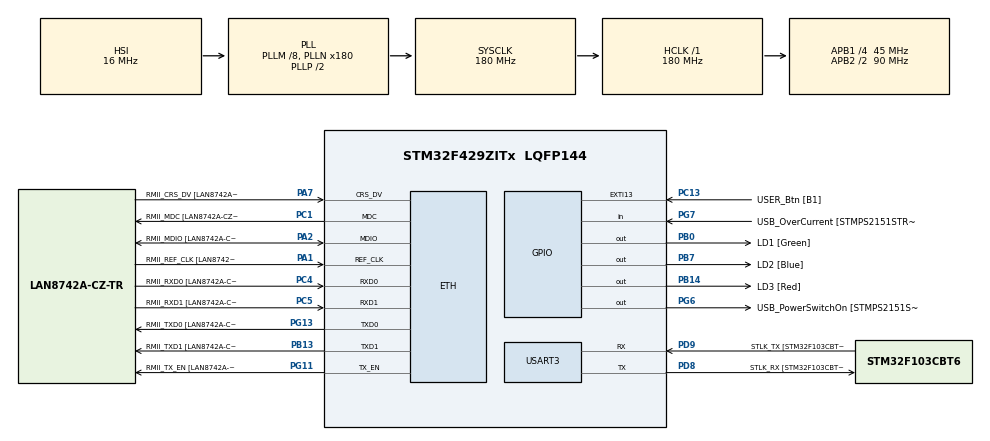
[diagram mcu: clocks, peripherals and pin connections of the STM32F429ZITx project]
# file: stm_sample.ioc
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ETH.MediaInterface=HAL_ETH_RMII_MODE
FREERTOS.Tasks01=defaultTask,24,1024,StartDefaultTask,Default,NULL,Dynamic,NULL,NULL;serverTask,24,1024,StartServerTask,Default,NULL,Dynamic,NULL,NULL
FREERTOS.configUSE_NEWLIB_REENTRANT=1
LWIP.BSP.number=1
LWIP.IP_ADDRESS=192.168.000.032
LWIP.LWIP_DHCP=0
LWIP.NETMASK_ADDRESS=255.255.255.000
LWIP.Version=v2.1.2_Cube
LWIP0.BSP.STBoard=false
LWIP0.BSP.api=BSP_COMPONENT_DRIVER
LWIP0.BSP.component=LAN8742
LWIP0.BSP.instance=LAN8742
LWIP0.BSP.name=Driver_PHY
LWIP0.BSP.semaphore=S_LAN8742
LWIP0.BSP.solution=LAN8742
Mcu.Family=STM32F4
Mcu.Name=STM32F429ZITx
Mcu.Package=LQFP144
NVIC.ETH_IRQn=true\:6\:0\:true\:false\:true\:true\:true\:true\:true
NVIC.PriorityGroup=NVIC_PRIORITYGROUP_4
NVIC.TIM1_UP_TIM10_IRQn=true\:15\:0\:false\:false\:true\:false\:false\:true\:true
NVIC.TimeBase=TIM1_UP_TIM10_IRQn
NVIC.TimeBaseIP=TIM1
PA1.GPIO_Label=RMII_REF_CLK [LAN8742A-CZ-TR_REFCLK0]
PA1.Mode=RMII
PA1.Signal=ETH_REF_CLK
PA10.GPIO_Label=USB_ID
PA10.Signal=USB_OTG_FS_ID
PA11.GPIO_Label=USB_DM
PA11.Signal=USB_OTG_FS_DM
PA12.GPIO_Label=USB_DP
PA12.Signal=USB_OTG_FS_DP
PA13.GPIO_Label=TMS
PA13.Signal=SYS_JTMS-SWDIO
PA14.GPIO_Label=TCK
PA14.Signal=SYS_JTCK-SWCLK
PA2.GPIO_Label=RMII_MDIO [LAN8742A-CZ-TR_MDIO]
PA2.Mode=RMII
PA2.Signal=ETH_MDIO
PA7.GPIO_Label=RMII_CRS_DV [LAN8742A-CZ-TR_CRS_DV]
PA7.Mode=RMII
PA7.Signal=ETH_CRS_DV
PA8.GPIO_Label=USB_SOF [TP1]
PA8.Signal=USB_OTG_FS_SOF
PA9.GPIO_Label=USB_VBUS
PA9.Signal=USB_OTG_FS_VBUS
PB0.GPIO_Label=LD1 [Green]
PB0.Signal=GPIO_Output
PB13.GPIO_Label=RMII_TXD1 [LAN8742A-CZ-TR_TXD1]
PB13.Mode=RMII
PB13.Signal=ETH_TXD1
PB14.GPIO_Label=LD3 [Red]
PB14.Signal=GPIO_Output
PB7.GPIO_Label=LD2 [Blue]
PB7.Signal=GPIO_Output
PC1.GPIO_Label=RMII_MDC [LAN8742A-CZ-TR_MDC]
PC1.Mode=RMII
PC1.Signal=ETH_MDC
PC13.GPIO_Label=USER_Btn [B1]
PC13.Signal=GPXTI13
PC14/OSC32_IN.Signal=RCC_OSC32_IN
PC15/OSC32_OUT.Signal=RCC_OSC32_OUT
PC4.GPIO_Label=RMII_RXD0 [LAN8742A-CZ-TR_RXD0]
PC4.Mode=RMII
PC4.Signal=ETH_RXD0
PC5.GPIO_Label=RMII_RXD1 [LAN8742A-CZ-TR_RXD1]
PC5.Mode=RMII
PC5.Signal=ETH_RXD1
PD8.GPIO_Label=STLK_RX [STM32F103CBT6_PA3]
PD8.Mode=Asynchronous
PD8.Signal=USART3_TX
PD9.GPIO_Label=STLK_TX [STM32F103CBT6_PA2]
PD9.Mode=Asynchronous
PD9.Signal=USART3_RX
PG11.GPIO_Label=RMII_TX_EN [LAN8742A-CZ-TR_TXEN]
PG11.Mode=RMII
PG11.Signal=ETH_TX_EN
PG13.GPIO_Label=RMII_TXD0 [LAN8742A-CZ-TR_TXD0]
PG13.Mode=RMII
PG13.Signal=ETH_TXD0
PG6.GPIO_Label=USB_PowerSwitchOn [STMPS2151STR_EN]
PG6.Signal=GPIO_Output
PG7.GPIO_Label=USB_OverCurrent [STMPS2151STR_FAULT]
PG7.Signal=GPIO_Input
PH0/OSC_IN.GPIO_Label=MCO [STM32F103CBT6_PA8]
PH0/OSC_IN.Signal=RCC_OSC_IN
PH1/OSC_OUT.Signal=RCC_OSC_OUT
ProjectManager.HeapSize=0x200
ProjectManager.StackSize=0x400
ProjectManager.TargetToolchain=STM32CubeIDE
RCC.48MHZClocksFreq_Value=90000000
RCC.AHBFreq_Value=180000000
RCC.APB1CLKDivider=RCC_HCLK_DIV4
RCC.APB1Freq_Value=45000000
RCC.APB1TimFreq_Value=90000000
RCC.APB2CLKDivider=RCC_HCLK_DIV2
RCC.APB2Freq_Value=90000000
RCC.APB2TimFreq_Value=180000000
RCC.CortexFreq_Value=180000000
RCC.HCLKFreq_Value=180000000
RCC.HSE_VALUE=8000000
RCC.HSI_VALUE=16000000
RCC.LSE_VALUE=32768
RCC.PLLM=8
RCC.PLLMUL=RCC_PLL_MUL9
RCC.PLLN=180
RCC.PRESCALERUSB=RCC_USBCLKSOURCE_PLL_DIV1_5
RCC.SYSCLKFreq_VALUE=180000000
RCC.SYSCLKSource=RCC_SYSCLKSOURCE_PLLCLK
RCC.SYSCLKSourceVirtual=RCC_SYSCLKSOURCE_PLLCLK
RCC.USBFreq_Value=48000000
RCC.VCOOutputFreq_Value=360000000
USART3.VirtualMode=VM_ASYNC
VP_FREERTOS_VS_CMSIS_V2.Mode=CMSIS_V2
VP_LWIP_VS_Enabled.Mode=Enabled
VP_SYS_VS_tim1.Mode=TIM1
board=NUCLEO-F429ZI

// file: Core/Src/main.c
/* USER CODE BEGIN Header */
/**
  ******************************************************************************
  * @file           : main.c
  * @brief          : Main program body
  ******************************************************************************
  * @attention
  *
  * Copyright (c) 2024 STMicroelectronics.
  * All rights reserved.
  *
  * This software is licensed under terms that can be found in the LICENSE file
  * in the root directory of this software component.
  * If no LICENSE file comes with this software, it is provided AS-IS.
  *
  ******************************************************************************
  */
/* USER CODE END Header */
#include "main.h"
#include "cmsis_os.h"
#include "lwip.h"

/* USER CODE BEGIN Includes */

/*
NUCLEO-F429ZI
TCP server example.

Echo + LED control.

Bit 0 of every received byte:
    0 - LED1 off
    1 - LED1 on

TCP port: 50000.
IP address: 192.168.0.32 / 24

*/

/* USER CODE END Includes */

UART_HandleTypeDef huart3;

/* Definitions for defaultTask */
osThreadId_t defaultTaskHandle;
const osThreadAttr_t defaultTask_attributes = {
  .name = "defaultTask",
  .stack_size = 1024 * 4,
  .priority = (osPriority_t) osPriorityNormal,
};
/* Definitions for serverTask */
osThreadId_t serverTaskHandle;
const osThreadAttr_t serverTask_attributes = {
  .name = "serverTask",
  .stack_size = 1024 * 4,
  .priority = (osPriority_t) osPriorityNormal,
};
/* USER CODE BEGIN PV */

volatile uint32_t g_lwipInitFinished = 0;

/* USER CODE END PV */

void SystemClock_Config(void);
static void MX_GPIO_Init(void);
static void MX_USART3_UART_Init(void);
void StartDefaultTask(void *argument);
void StartServerTask(void *argument);

/* USER CODE BEGIN PFP */

#ifdef __GNUC__
/* With GCC, small printf (option LD Linker->Libraries->Small printf
   set to 'Yes') calls __io_putchar() */
#define PUTCHAR_PROTOTYPE int __io_putchar(int ch)
#else
#define PUTCHAR_PROTOTYPE int fputc(int ch, FILE *f)
#endif /* __GNUC__ */

/* USER CODE END PFP */

/* USER CODE BEGIN 0 */

// UART printf support.
// huart3 is serial-over-USB port for NUCLEO-F429ZI.
// For another board UART may be different.

/**
  * @brief  Retargets the C library printf function to the USART.
  * @param  None
  * @retval None
  */
PUTCHAR_PROTOTYPE
{
  /* Place your implementation of fputc here */
  /* e.g. write a character to the USART3 and Loop until the end of transmission */
  HAL_UART_Transmit(&huart3, (uint8_t *)&ch, 1, 0xFFFF);

  return ch;
}

/* USER CODE END 0 */

int main(void)
{

  /* MCU Configuration--------------------------------------------------------*/

  /* Reset of all peripherals, Initializes the Flash interface and the Systick. */
  HAL_Init();

  /* Configure the system clock */
  SystemClock_Config();

  /* Initialize all configured peripherals */
  MX_GPIO_Init();
  MX_USART3_UART_Init();
  /* USER CODE BEGIN 2 */

  printf("\nstm_sample\n");
  printf("built at %s %s\n", __DATE__, __TIME__);

#ifdef DEBUG
  printf("Debug configuration\n");
#else
  printf("Release configuration\n");
#endif

  /* USER CODE END 2 */

  /* Init scheduler */
  osKernelInitialize();

  /* Create the thread(s) */
  /* creation of defaultTask */
  defaultTaskHandle = osThreadNew(StartDefaultTask, NULL, &defaultTask_attributes);

  /* creation of serverTask */
  serverTaskHandle = osThreadNew(StartServerTask, NULL, &serverTask_attributes);

  /* Start scheduler */
  osKernelStart();

  /* We should never get here as control is now taken by the scheduler */

  /* Infinite loop */
  while (1)
  {

  }
}

void SystemClock_Config(void)
{
  RCC_OscInitTypeDef RCC_OscInitStruct = {0};
  RCC_ClkInitTypeDef RCC_ClkInitStruct = {0};

  /** Configure the main internal regulator output voltage
  */
  __HAL_RCC_PWR_CLK_ENABLE();
  __HAL_PWR_VOLTAGESCALING_CONFIG(PWR_REGULATOR_VOLTAGE_SCALE1);

  /** Initializes the RCC Oscillators according to the specified parameters
  * in the RCC_OscInitTypeDef structure.
  */
  RCC_OscInitStruct.OscillatorType = RCC_OSCILLATORTYPE_HSI;
  RCC_OscInitStruct.HSIState = RCC_HSI_ON;
  RCC_OscInitStruct.HSICalibrationValue = RCC_HSICALIBRATION_DEFAULT;
  RCC_OscInitStruct.PLL.PLLState = RCC_PLL_ON;
  RCC_OscInitStruct.PLL.PLLSource = RCC_PLLSOURCE_HSI;
  RCC_OscInitStruct.PLL.PLLM = 8;
  RCC_OscInitStruct.PLL.PLLN = 180;
  RCC_OscInitStruct.PLL.PLLP = RCC_PLLP_DIV2;
  RCC_OscInitStruct.PLL.PLLQ = 4;
  if (HAL_RCC_OscConfig(&RCC_OscInitStruct) != HAL_OK)
  {
    Error_Handler();
  }

  /** Activate the Over-Drive mode
  */
  if (HAL_PWREx_EnableOverDrive() != HAL_OK)
  {
    Error_Handler();
  }

  /** Initializes the CPU, AHB and APB buses clocks
  */
  RCC_ClkInitStruct.ClockType = RCC_CLOCKTYPE_HCLK|RCC_CLOCKTYPE_SYSCLK
                              |RCC_CLOCKTYPE_PCLK1|RCC_CLOCKTYPE_PCLK2;
  RCC_ClkInitStruct.SYSCLKSource = RCC_SYSCLKSOURCE_PLLCLK;
  RCC_ClkInitStruct.AHBCLKDivider = RCC_SYSCLK_DIV1;
  RCC_ClkInitStruct.APB1CLKDivider = RCC_HCLK_DIV4;
  RCC_ClkInitStruct.APB2CLKDivider = RCC_HCLK_DIV2;

  if (HAL_RCC_ClockConfig(&RCC_ClkInitStruct, FLASH_LATENCY_5) != HAL_OK)
  {
    Error_Handler();
  }
}

static void MX_USART3_UART_Init(void)
{

  huart3.Instance = USART3;
  huart3.Init.BaudRate = 115200;
  huart3.Init.WordLength = UART_WORDLENGTH_8B;
  huart3.Init.StopBits = UART_STOPBITS_1;
  huart3.Init.Parity = UART_PARITY_NONE;
  huart3.Init.Mode = UART_MODE_TX_RX;
  huart3.Init.HwFlowCtl = UART_HWCONTROL_NONE;
  huart3.Init.OverSampling = UART_OVERSAMPLING_16;
  if (HAL_UART_Init(&huart3) != HAL_OK)
  {
    Error_Handler();
  }

}

static void MX_GPIO_Init(void)
{
  GPIO_InitTypeDef GPIO_InitStruct = {0};

  /* GPIO Ports Clock Enable */
  __HAL_RCC_GPIOC_CLK_ENABLE();
  __HAL_RCC_GPIOH_CLK_ENABLE();
  __HAL_RCC_GPIOA_CLK_ENABLE();
  __HAL_RCC_GPIOB_CLK_ENABLE();
  __HAL_RCC_GPIOD_CLK_ENABLE();
  __HAL_RCC_GPIOG_CLK_ENABLE();

  /*Configure GPIO pin Output Level */
  HAL_GPIO_WritePin(GPIOB, LD1_Pin|LD3_Pin|LD2_Pin, GPIO_PIN_RESET);

  /*Configure GPIO pin Output Level */
  HAL_GPIO_WritePin(USB_PowerSwitchOn_GPIO_Port, USB_PowerSwitchOn_Pin, GPIO_PIN_RESET);

  /*Configure GPIO pin : USER_Btn_Pin */
  GPIO_InitStruct.Pin = USER_Btn_Pin;
  GPIO_InitStruct.Mode = GPIO_MODE_IT_RISING;
  GPIO_InitStruct.Pull = GPIO_NOPULL;
  HAL_GPIO_Init(USER_Btn_GPIO_Port, &GPIO_InitStruct);

  /*Configure GPIO pins : LD1_Pin LD3_Pin LD2_Pin */
  GPIO_InitStruct.Pin = LD1_Pin|LD3_Pin|LD2_Pin;
  GPIO_InitStruct.Mode = GPIO_MODE_OUTPUT_PP;
  GPIO_InitStruct.Pull = GPIO_NOPULL;
  GPIO_InitStruct.Speed = GPIO_SPEED_FREQ_LOW;
  HAL_GPIO_Init(GPIOB, &GPIO_InitStruct);

  /*Configure GPIO pin : USB_PowerSwitchOn_Pin */
  GPIO_InitStruct.Pin = USB_PowerSwitchOn_Pin;
  GPIO_InitStruct.Mode = GPIO_MODE_OUTPUT_PP;
  GPIO_InitStruct.Pull = GPIO_NOPULL;
  GPIO_InitStruct.Speed = GPIO_SPEED_FREQ_LOW;
  HAL_GPIO_Init(USB_PowerSwitchOn_GPIO_Port, &GPIO_InitStruct);

  /*Configure GPIO pin : USB_OverCurrent_Pin */
  GPIO_InitStruct.Pin = USB_OverCurrent_Pin;
  GPIO_InitStruct.Mode = GPIO_MODE_INPUT;
  GPIO_InitStruct.Pull = GPIO_NOPULL;
  HAL_GPIO_Init(USB_OverCurrent_GPIO_Port, &GPIO_InitStruct);

  /*Configure GPIO pins : USB_SOF_Pin USB_ID_Pin USB_DM_Pin USB_DP_Pin */
  GPIO_InitStruct.Pin = USB_SOF_Pin|USB_ID_Pin|USB_DM_Pin|USB_DP_Pin;
  GPIO_InitStruct.Mode = GPIO_MODE_AF_PP;
  GPIO_InitStruct.Pull = GPIO_NOPULL;
  GPIO_InitStruct.Speed = GPIO_SPEED_FREQ_VERY_HIGH;
  GPIO_InitStruct.Alternate = GPIO_AF10_OTG_FS;
  HAL_GPIO_Init(GPIOA, &GPIO_InitStruct);

  /*Configure GPIO pin : USB_VBUS_Pin */
  GPIO_InitStruct.Pin = USB_VBUS_Pin;
  GPIO_InitStruct.Mode = GPIO_MODE_INPUT;
  GPIO_InitStruct.Pull = GPIO_NOPULL;
  HAL_GPIO_Init(USB_VBUS_GPIO_Port, &GPIO_InitStruct);

}

void StartDefaultTask(void *argument)
{
  /* init code for LWIP */
  MX_LWIP_Init();
  /* USER CODE BEGIN 5 */

  g_lwipInitFinished = 1;

  // LED2 blinking. Optional. For another board LED port and pin definitions may be different.
  for(;;)
  {
    osDelay(200);
    HAL_GPIO_TogglePin(LD2_GPIO_Port, LD2_Pin);
  }

  /* USER CODE END 5 */
}

void StartServerTask(void *argument)
{
  /* USER CODE BEGIN StartServerTask */

	tcpserver_thread();

  /* USER CODE END StartServerTask */
}

void HAL_TIM_PeriodElapsedCallback(TIM_HandleTypeDef *htim)
{
  if (htim->Instance == TIM1) {
    HAL_IncTick();
  }
}

void Error_Handler(void)
{
  __disable_irq();
  while (1)
  {
  }
}
